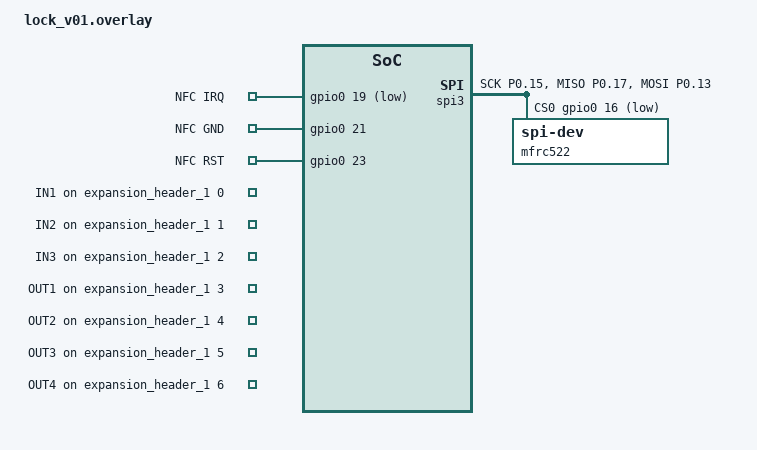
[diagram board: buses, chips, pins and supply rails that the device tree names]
&pinctrl {
	spi3_default: spi3_default {
		group1 {
			psels = <NRF_PSEL(SPIM_SCK, 0, 15)>,
							<NRF_PSEL(SPIM_MISO, 0, 17)>,
							<NRF_PSEL(SPIM_MOSI, 0, 13)>;
		};
	};
};

&spi3 {
	status = "okay";
	cs-gpios = <&gpio0 16 GPIO_ACTIVE_LOW>;
	pinctrl-0 = <&spi3_default>;
	pinctrl-names = "default";

	mfrc522: spi-dev@0 {
		reg = <0>;
	};
};

/ {
	aliases {
		mfrc522-spi = &spi3;
		mfrc522 = &mfrc522;
	};

	nfc {
		compatible = "gpio-keys";
		nfc_irq: irq {
			// In the default configuration (IRQPushPull bit of DivIEnReg is set to 0),
			// pin IRQ is an open-drain output pin.
			gpios = <&gpio0 19 (GPIO_PULL_UP | GPIO_ACTIVE_LOW)>;
			label = "NFC IRQ";
		};

		nfc_gnd: gnd {
			gpios = <&gpio0 21 0>;
			label = "NFC GND";
		};

		nfc_rst: rst {
			gpios = <&gpio0 23 0>;
			label = "NFC RST";
		};
	};

	keyboard {
		compatible = "gpio-keys";
		in1: in1 {
			gpios = <&expansion_header_1 0 0>;
			label = "IN1";
		};

		in2: in2 {
			gpios = <&expansion_header_1 1 0>;
			label = "IN2";
		};

		in3: in3 {
			gpios = <&expansion_header_1 2 0>;
			label = "IN3";
		};

		out1: out1 {
			gpios = <&expansion_header_1 3 (GPIO_PULL_DOWN | GPIO_ACTIVE_HIGH)>;
			label = "OUT1";
		};

		out2: out2 {
			gpios = <&expansion_header_1 4 (GPIO_PULL_DOWN | GPIO_ACTIVE_HIGH)>;
			label = "OUT2";
		};

		out3: out3 {
			gpios = <&expansion_header_1 5 (GPIO_PULL_DOWN | GPIO_ACTIVE_HIGH)>;
			label = "OUT3";
		};

		out4: out4 {
			gpios = <&expansion_header_1 6 (GPIO_PULL_DOWN | GPIO_ACTIVE_HIGH)>;
			label = "OUT4";
		};
	};
};
